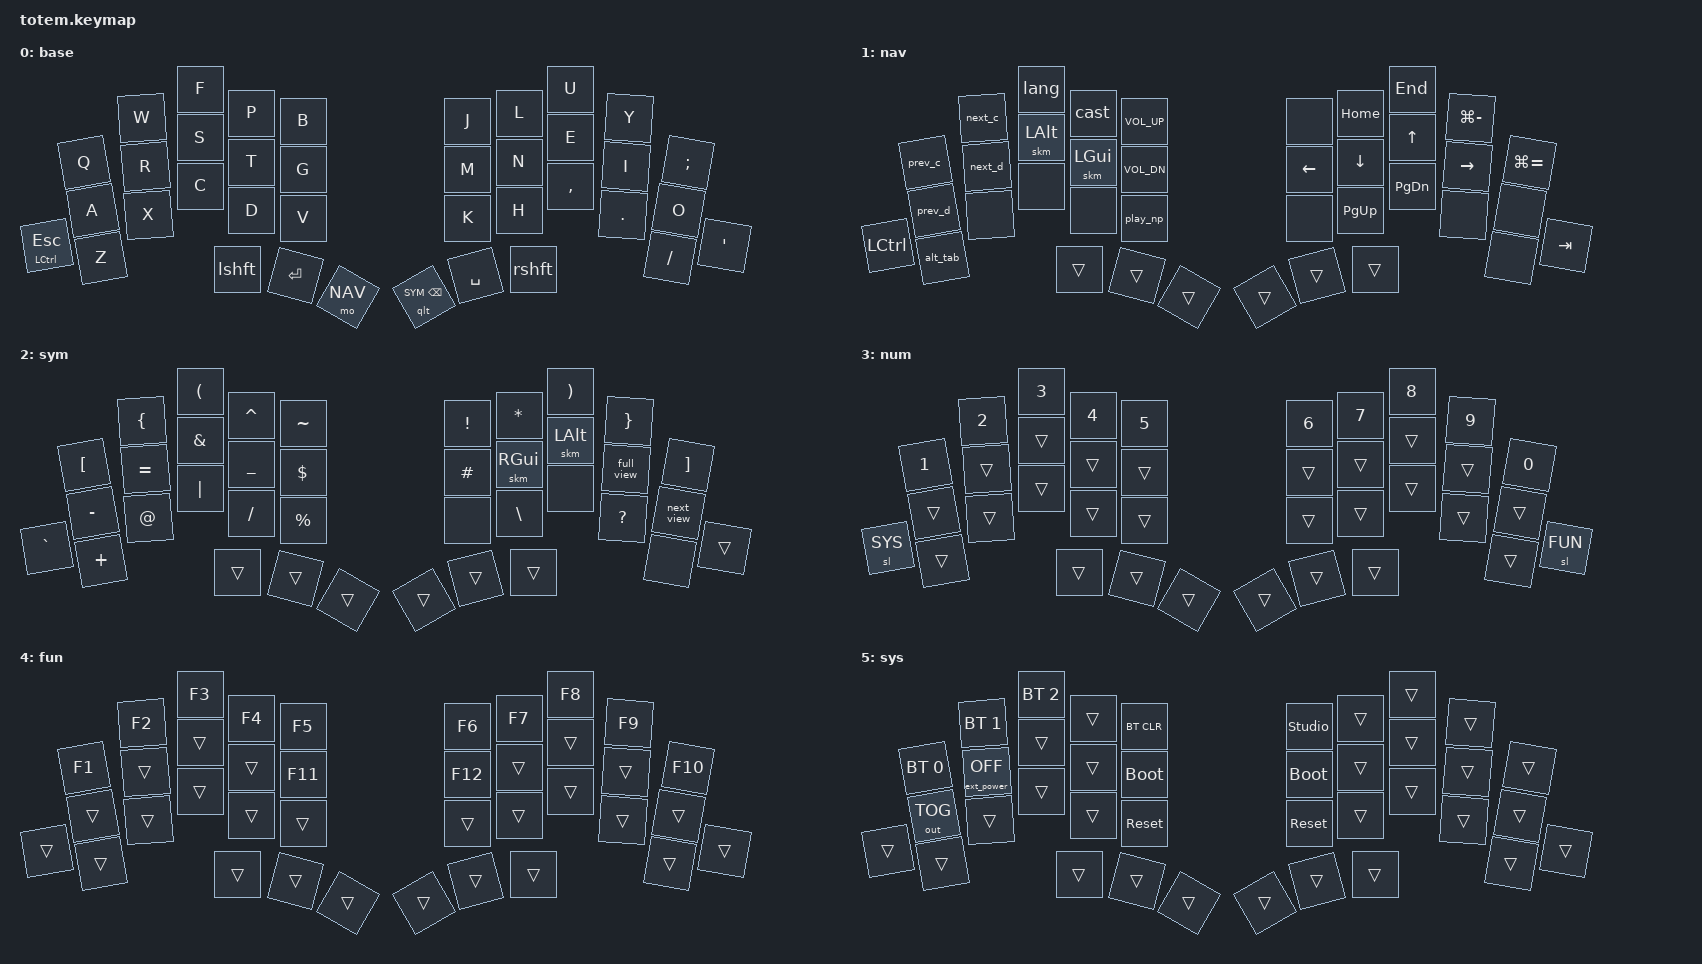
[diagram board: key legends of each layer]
//
//                                                        ▀▀▀▀▀     ▀▀▀▀▀          ▀▀█▀▀
//                                                        ▄▀▀▀▄  ▄  ▄▀▀▀▄  ▄  ▄▀▀▀▄  █  ▄▀▀▀▄
//                                                        █   █  █  █   █  █  █   █  █  █   █
//                                                         ▀▀▀   █   ▀▀▀   █   ▀▀▀   ▀   ▀▀▀
//                                                               █      ▄▄▄█▄▄▄    █   █  
//                                                               ▀      █  █  █     █▄█
//                                                             ▀▀▀▀▀    █  █  █      ▀
//                                                                      ▀  ▀  ▀
//
// ▄▄▄▄▄▄▄▄▄▄▄▄▄▄▄▄▄▄▄▄▄▄▄▄▄▄▄▄▄▄▄▄▄▄▄▄▄▄▄▄▄▄▄▄▄▄▄▄▄▄▄▄▄▄▄▄▄▄▄▄▄▄▄▄▄▄▄▄▄▄▄▄▄▄▄▄▄▄▄▄▄▄▄▄▄▄▄▄▄▄▄▄▄▄▄▄▄▄▄▄▄▄▄▄▄▄▄▄▄▄▄▄▄▄▄▄▄▄▄▄▄▄▄▄▄▄▄▄▄▄▄▄▄▄▄▄▄▄▄▄▄▄▄▄▄▄▄▄▄
       

#include <behaviors.dtsi>
#include <dt-bindings/zmk/keys.h>
#include <dt-bindings/zmk/bt.h>
#include <dt-bindings/zmk/outputs.h>
#include <dt-bindings/zmk/ext_power.h>
#include <behaviors/num_word.dtsi>

#define DEF 0
#define NAV 1
#define SYM 2
#define NUM 3
#define FUN 4
#define SYS 5

#include "zmk-helpers/helper.h"
#include "zmk-helpers/key-labels/totem.h"

#include "behaviors.dtsi"
#include "macros.dtsi"

#define XXX &none
#define ___ &trans
#define UNLOCK &studio_unlock

#define CTL_ESC &mt LCTL ESC
#define LT_BSPC &qlt SYM BSPC
#define ZOOM_IN &kp LG(EQUAL)
#define ZOOM_OUT &kp LG(MINUS)
#define VCC_OFF &ext_power EP_OFF 

/* Keymap */
ZMK_CONDITIONAL_LAYER(num, NAV SYM, NUM)  // NAV + SYM --> NUM

ZMK_LAYER(base,
//              ╭─────────────┬─────────────┬─────────────┬─────────────┬─────────────╮  ╭─────────────┬─────────────┬─────────────┬─────────────┬─────────────╮
                  &kp Q         &kp W         &kp F         &kp P         &kp B            &kp J         &kp L         &kp U         &kp Y         &kp SEMI 
//              ├─────────────┼─────────────┼─────────────┼─────────────┼─────────────┤  ├─────────────┼─────────────┼─────────────┼─────────────┼─────────────┤
                  &kp A         &kp R         &kp S         &kp T         &kp G            &kp M         &kp N         &kp E         &kp I         &kp O
//╭───────────╮ ├─────────────┼─────────────┼─────────────┼─────────────┼─────────────┤  ├─────────────┼─────────────┼─────────────┼─────────────┼─────────────┤ ╭───────────╮
    CTL_ESC       &kp Z         &kp X         &kp C         &kp D         &kp V            &kp K         &kp H         &kp COMMA     &kp DOT       &kp FSLH        &kp SQT 
//╰───────────╯ ╰─────────────┼─────────────┴─────────────┼─────────────┼─────────────┤  ├─────────────┼─────────────┼─────────────┴───────────────────────────╯ ╰───────────╯
                                              &lshft       &kp RET       &mo NAV          LT_BSPC       &kp SPACE     &rshft
//                                          ╰─────────────┴─────────────┴─────────────╯  ╰─────────────┴─────────────┴─────────────╯
)


ZMK_LAYER(nav,
//              ╭─────────────┬─────────────┬─────────────┬─────────────┬─────────────╮  ╭─────────────┬─────────────┬─────────────┬─────────────┬─────────────╮
                  &prev_c       &next_c       &lang         &cast         &kp C_VOL_UP     XXX           &kp HOME      &kp END       ZOOM_OUT      ZOOM_IN
//              ├─────────────┼─────────────┼─────────────┼─────────────┼─────────────┤  ├─────────────┼─────────────┼─────────────┼─────────────┼─────────────┤
                  &prev_d       &next_d       &skm LALT     &skm LGUI     &kp C_VOL_DN     &kp LEFT      &kp DOWN      &kp UP        &kp RIGHT     XXX
//╭───────────╮ ├─────────────┼─────────────┼─────────────┼─────────────┼─────────────┤  ├─────────────┼─────────────┼─────────────┼─────────────┼─────────────┤ ╭───────────╮
    &kp LCTL      &alt_tab      XXX           XXX           XXX           &play_np         XXX           &kp PG_UP     &kp PG_DN     XXX           XXX             &kp TAB 
//╰───────────╯ ╰─────────────┼─────────────┴─────────────┼─────────────┼─────────────┤  ├─────────────┼─────────────┼─────────────┴───────────────────────────╯ ╰───────────╯
                                              ___           ___           ___              ___           ___           ___
//                                          ╰─────────────┴─────────────┴─────────────╯  ╰─────────────┴─────────────┴─────────────╯
)

ZMK_LAYER(sym,
//              ╭─────────────┬─────────────┬─────────────┬─────────────┬─────────────╮  ╭─────────────┬─────────────┬─────────────┬─────────────┬─────────────╮
                  &kp LBKT      &kp LBRC      &kp LPAR      &kp CARET     &kp TILDE        &kp EXCL      &kp STAR      &kp RPAR      &kp RBRC      &kp RBKT     
//              ├─────────────┼─────────────┼─────────────┼─────────────┼─────────────┤  ├─────────────┼─────────────┼─────────────┼─────────────┼─────────────┤
                  &kp MINUS     &kp EQUAL     &kp AMPS      &kp UNDER     &kp DLLR         &kp HASH      &skm RGUI     &skm LALT     &full_view    &next_view   
//╭───────────╮ ├─────────────┼─────────────┼─────────────┼─────────────┼─────────────┤  ├─────────────┼─────────────┼─────────────┼─────────────┼─────────────┤ ╭───────────╮
    &kp GRAVE     &kp PLUS      &kp AT        &kp PIPE      &kp FSLH      &kp PRCNT        XXX           &kp BSLH      XXX           &kp QMARK     XXX             ___
//╰───────────╯ ╰─────────────┼─────────────┴─────────────┼─────────────┼─────────────┤  ├─────────────┼─────────────┼─────────────┴───────────────────────────╯ ╰───────────╯
                                              ___           ___           ___              ___           ___           ___
//                                          ╰─────────────┴─────────────┴─────────────╯  ╰─────────────┴─────────────┴─────────────╯
)

ZMK_LAYER(num,
//              ╭─────────────┬─────────────┬─────────────┬─────────────┬─────────────╮  ╭─────────────┬─────────────┬─────────────┬─────────────┬─────────────╮
                  &kp N1        &kp N2        &kp N3        &kp N4        &kp N5           &kp N6        &kp N7        &kp N8        &kp N9        &kp N0       
//              ├─────────────┼─────────────┼─────────────┼─────────────┼─────────────┤  ├─────────────┼─────────────┼─────────────┼─────────────┼─────────────┤
                  ___           ___           ___           ___           ___              ___           ___           ___           ___           ___          
//╭───────────╮ ├─────────────┼─────────────┼─────────────┼─────────────┼─────────────┤  ├─────────────┼─────────────┼─────────────┼─────────────┼─────────────┤ ╭───────────╮
    &sl SYS       ___           ___           ___           ___           ___              ___           ___           ___           ___           ___             &sl FUN
//╰───────────╯ ╰─────────────┼─────────────┴─────────────┼─────────────┼─────────────┤  ├─────────────┼─────────────┼─────────────┴───────────────────────────╯ ╰───────────╯
                                              ___           ___           ___              ___           ___           ___ 
//                                          ╰─────────────┴─────────────┴─────────────╯  ╰─────────────┴─────────────┴─────────────╯
)

ZMK_LAYER(fun,
//              ╭─────────────┬─────────────┬─────────────┬─────────────┬─────────────╮  ╭─────────────┬─────────────┬─────────────┬─────────────┬─────────────╮
                  &kp F1        &kp F2        &kp F3        &kp F4        &kp F5           &kp F6        &kp F7        &kp F8        &kp F9        &kp F10      
//              ├─────────────┼─────────────┼─────────────┼─────────────┼─────────────┤  ├─────────────┼─────────────┼─────────────┼─────────────┼─────────────┤
                  ___           ___           ___           ___           &kp F11          &kp F12       ___           ___           ___           ___          
//╭───────────╮ ├─────────────┼─────────────┼─────────────┼─────────────┼─────────────┤  ├─────────────┼─────────────┼─────────────┼─────────────┼─────────────┤ ╭───────────╮ 
    ___           ___           ___           ___           ___           ___              ___           ___           ___           ___           ___             ___
//╰───────────╯ ╰─────────────┼─────────────┴─────────────┼─────────────┼─────────────┤  ├─────────────┼─────────────┼─────────────┴───────────────────────────╯ ╰───────────╯
                                              ___           ___           ___              ___           ___           ___ 
//                                          ╰─────────────┴─────────────┴─────────────╯  ╰─────────────┴─────────────┴─────────────╯
)

ZMK_LAYER(sys,
//              ╭─────────────┬─────────────┬─────────────┬─────────────┬─────────────╮  ╭─────────────┬─────────────┬─────────────┬─────────────┬─────────────╮
                  &bt BT_SEL 0  &bt BT_SEL 1  &bt BT_SEL 2  ___           &bt BT_CLR       UNLOCK        ___           ___           ___           ___          
//              ├─────────────┼─────────────┼─────────────┼─────────────┼─────────────┤  ├─────────────┼─────────────┼─────────────┼─────────────┼─────────────┤
                  &out OUT_TOG  VCC_OFF       ___           ___           &bootloader      &bootloader   ___           ___           ___           ___          
//╭───────────╮ ├─────────────┼─────────────┼─────────────┼─────────────┼─────────────┤  ├─────────────┼─────────────┼─────────────┼─────────────┼─────────────┤ ╭───────────╮
    ___           ___           ___           ___           ___           &sys_reset       &sys_reset    ___           ___           ___           ___             ___
//╰───────────╯ ╰─────────────┼─────────────┴─────────────┼─────────────┼─────────────┤  ├─────────────┼─────────────┼─────────────┴───────────────────────────╯ ╰───────────╯
                                              ___           ___           ___              ___           ___           ___
//                                          ╰─────────────┴─────────────┴─────────────╯  ╰─────────────┴─────────────┴─────────────╯
)
/* vim: set ft=c tw=174: */
